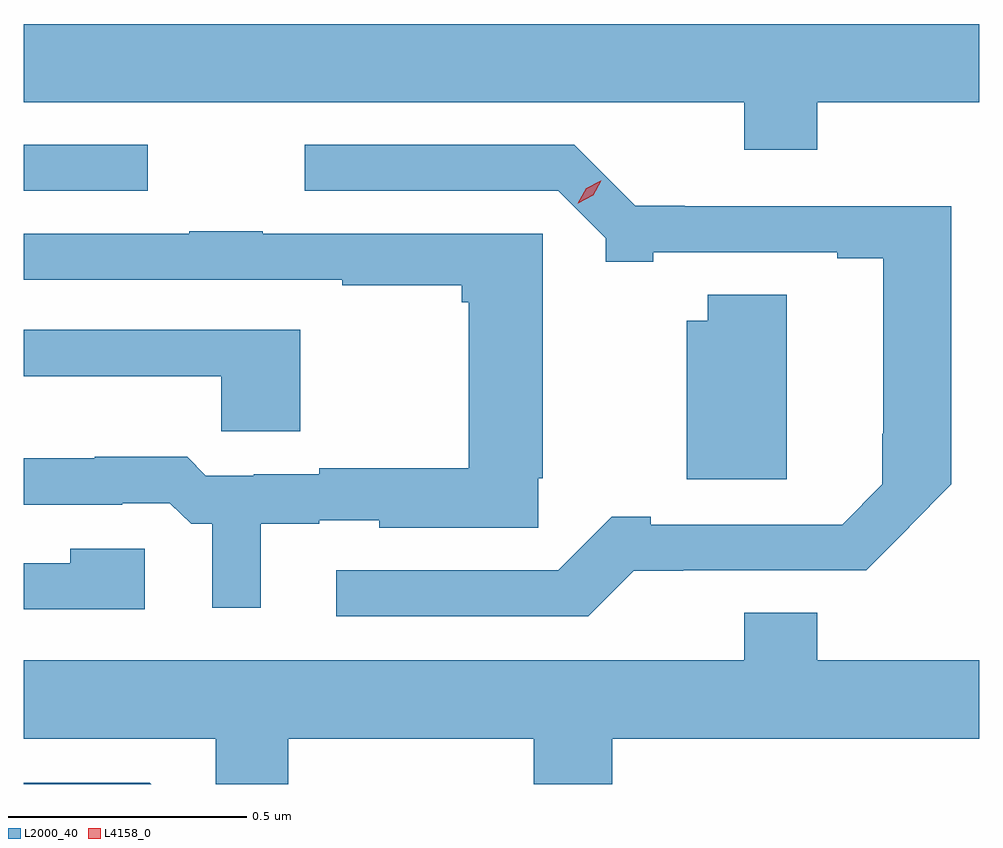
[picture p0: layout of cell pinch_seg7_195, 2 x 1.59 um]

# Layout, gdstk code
import gdstk
lib = gdstk.Library(unit=1e-6, precision=1e-09)
def R(c, l, rs):  # rectangles x0, y0, x1, y1
    for r in rs: c.add(gdstk.rectangle(r[:2], r[2:], *l))
def P(c, l, *ps):  # polygons
    for p in ps: c.add(gdstk.Polygon(p, *l))
L2000_40 = (2000, 40)
L4158_0 = (4158, 0)

pinch_seg7_195 = lib.new_cell('pinch_seg7_195')
R(pinch_seg7_195, L2000_40, [(1127.673,1013.751,1127.932,1013.847)])
P(pinch_seg7_195, L2000_40, [(1129.334,1013.936),(1129.673,1013.936),(1129.673,1014.1),(1127.673,1014.1),(1127.673,1013.936),(1129.181,1013.936),(1129.181,1013.837),(1129.334,1013.837)],
  [(1128.95,1012.955),(1129.054,1012.955),(1129.054,1012.956),(1129.437,1012.956),(1129.527,1013.047),(1129.526,1013.047),(1129.615,1013.136),(1129.615,1013.718),(1129.057,1013.718),(1129.057,1013.72),(1128.953,1013.72),(1128.825,1013.847),(1128.261,1013.847),(1128.261,1013.751),(1128.792,1013.751),(1128.891,1013.652),(1128.891,1013.602),(1128.991,1013.602),(1128.991,1013.622),(1129.376,1013.622),(1129.376,1013.61),(1129.472,1013.61),(1129.472,1013.242),(1129.47,1013.242),(1129.47,1013.136),(1129.386,1013.052),(1128.985,1013.052),(1128.985,1013.068),(1128.904,1013.068),(1128.792,1012.956),(1128.327,1012.956),(1128.327,1012.86),(1128.855,1012.86)],
  [(1128.169,1013.054),(1128.291,1013.054),(1128.291,1013.061),(1128.417,1013.061),(1128.417,1013.045),(1128.75,1013.045),(1128.75,1013.149),(1128.759,1013.149),(1128.759,1013.661),(1128.173,1013.661),(1128.173,1013.666),(1128.019,1013.666),(1128.019,1013.661),(1127.673,1013.661),(1127.673,1013.565),(1128.34,1013.565),(1128.34,1013.553),(1128.59,1013.553),(1128.59,1013.517),(1128.604,1013.517),(1128.604,1013.17),(1128.291,1013.17),(1128.291,1013.157),(1128.154,1013.157),(1128.154,1013.154),(1128.054,1013.154),(1128.015,1013.194),(1127.821,1013.194),(1127.821,1013.191),(1127.673,1013.191),(1127.673,1013.094),(1127.879,1013.094),(1127.879,1013.097),(1127.979,1013.097),(1128.023,1013.054),(1128.068,1013.054),(1128.068,1012.878),(1128.169,1012.878)],
  [(1129.27,1013.533),(1129.105,1013.533),(1129.105,1013.479),(1129.061,1013.479),(1129.061,1013.147),(1129.27,1013.147)],
  [(1128.252,1013.46),(1127.673,1013.46),(1127.673,1013.363),(1128.086,1013.363),(1128.086,1013.247),(1128.252,1013.247)],
  [(1127.926,1013.002),(1127.77,1013.002),(1127.77,1012.971),(1127.673,1012.971),(1127.673,1012.875),(1127.926,1012.875)],
  [(1128.227,1012.604),(1128.74,1012.604),(1128.74,1012.509),(1128.905,1012.509),(1128.905,1012.604),(1129.673,1012.604),(1129.673,1012.768),(1129.334,1012.768),(1129.334,1012.867),(1129.181,1012.867),(1129.181,1012.768),(1127.673,1012.768),(1127.673,1012.604),(1128.075,1012.604),(1128.075,1012.509),(1128.227,1012.509)],
  [(1127.937,1012.512),(1127.673,1012.512),(1127.673,1012.509),(1127.94,1012.509)])
P(pinch_seg7_195, L4158_0, [(1128.833,1013.725),(1128.833,1013.725),(1128.85,1013.756),(1128.881,1013.772),(1128.882,1013.772),(1128.882,1013.772),(1128.865,1013.742),(1128.834,1013.725)])

lib.write_gds('pinch_seg7_195.gds')
